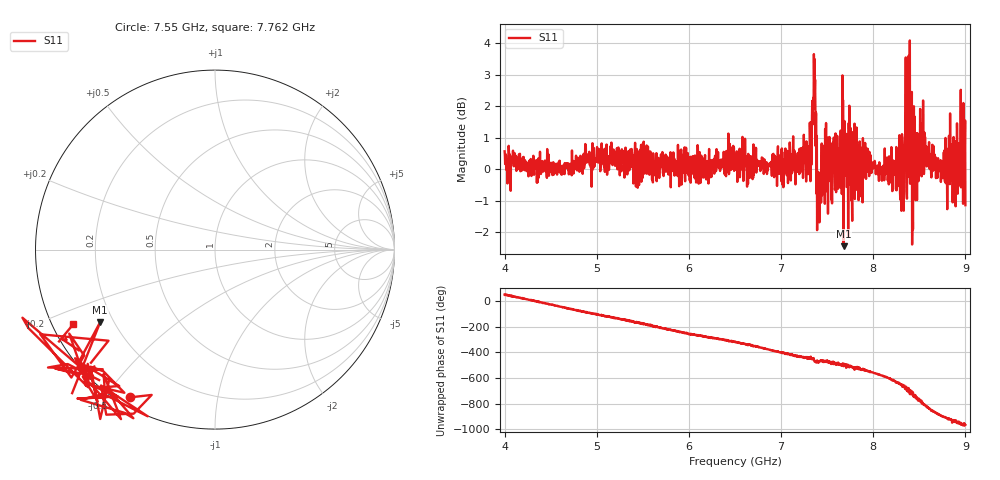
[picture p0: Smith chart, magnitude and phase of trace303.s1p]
! Created with skrf 1.8.0 (http://scikit-rf.org).
# Hz S RI R 50.0
!freq ReS11 ImS11
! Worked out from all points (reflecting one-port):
!   1601 points, 4 GHz to 9 GHz, reference 50 ohm
!   lowest |S11| = -2.4 dB at 7.678 GHz (marker M1), VSWR 7.18, Z = 7.53 - j14.1 ohm
!   phase of S11 starts at 53 deg and turns -1019 deg over the sweep
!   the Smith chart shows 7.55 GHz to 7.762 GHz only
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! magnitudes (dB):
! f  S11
! 4 GHz  0.6
! 4.625 GHz  -0.1
! 5.25 GHz  -0.2
! 5.875 GHz  0.1
! 6.5 GHz  0.3
! 7.125 GHz  0.4
! 7.297 GHz  0.7
! 7.356 GHz  3.7
! 7.409 GHz  -0.9
! 7.503 GHz  1.0
! 7.572 GHz  1.0
! 7.678 GHz  -2.4
! 7.75 GHz  -0.1
! 7.891 GHz  0.4
! 8.312 GHz  1.1
! 8.334 GHz  0.3
! 8.347 GHz  1.0
! 8.359 GHz  0.2
! 8.375 GHz  1.7
! 8.394 GHz  -0.1
! 8.412 GHz  0.1
! 8.447 GHz  1.7
! 8.522 GHz  1.2
! 8.606 GHz  0.9
! 8.778 GHz  -0.4
! 8.9 GHz  -0.7
! 8.972 GHz  0.6
! 9 GHz  -1.1
